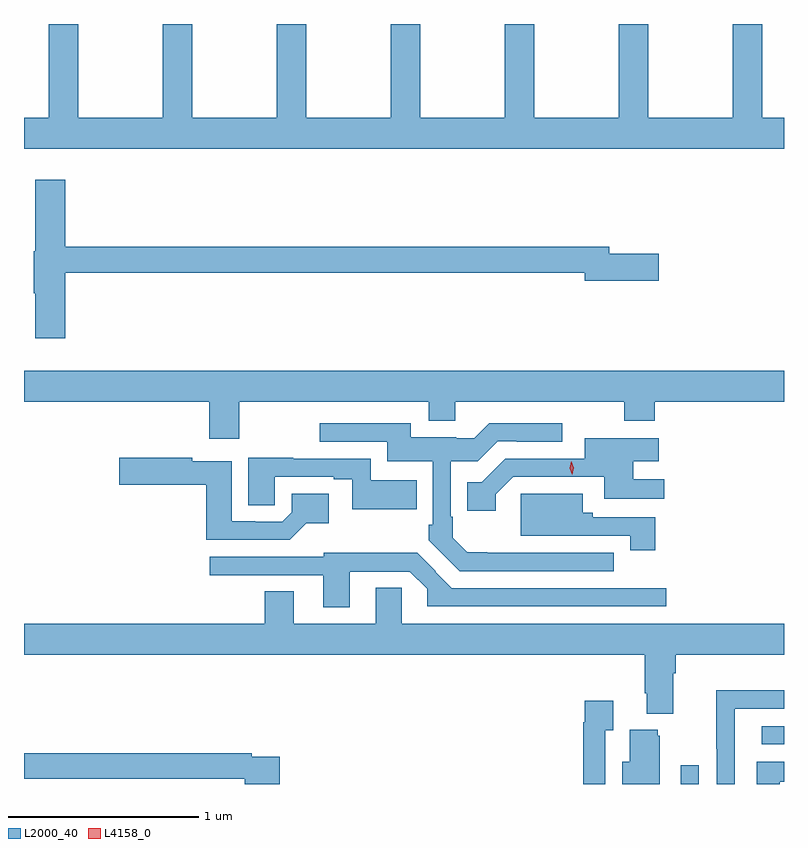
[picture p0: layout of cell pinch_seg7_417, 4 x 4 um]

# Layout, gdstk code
import gdstk
lib = gdstk.Library(unit=1e-6, precision=1e-09)
def R(c, l, rs):  # rectangles x0, y0, x1, y1
    for r in rs: c.add(gdstk.rectangle(r[:2], r[2:], *l))
def P(c, l, *ps):  # polygons
    for p in ps: c.add(gdstk.Polygon(p, *l))
L2000_40 = (2000, 40)
L4158_0 = (4158, 0)

pinch_seg7_417 = lib.new_cell('pinch_seg7_417')
R(pinch_seg7_417, L2000_40, [(363.873,1073.197,363.969,1073.296), (364.299,1073.406,364.417,1073.502)])
P(pinch_seg7_417, L2000_40, [(361.747,1077.197),(361.747,1076.704),(361.302,1076.704),(361.302,1077.197),(361.147,1077.197),(361.147,1076.704),(360.702,1076.704),(360.702,1077.197),(360.547,1077.197),(360.547,1076.704),(360.417,1076.704),(360.417,1076.54),(364.417,1076.54),(364.417,1076.704),(364.302,1076.704),(364.302,1077.197),(364.147,1077.197),(364.147,1076.704),(363.702,1076.704),(363.702,1077.197),(363.547,1077.197),(363.547,1076.704),(363.102,1076.704),(363.102,1077.197),(362.947,1077.197),(362.947,1076.704),(362.502,1076.704),(362.502,1077.197),(362.347,1077.197),(362.347,1076.704),(361.902,1076.704),(361.902,1077.197)],
  [(360.635,1075.888),(363.368,1075.888),(363.368,1075.846),(363.757,1075.846),(363.757,1075.988),(363.496,1075.988),(363.496,1076.024),(360.635,1076.024),(360.635,1076.377),(360.476,1076.377),(360.476,1076.001),(360.469,1076.001),(360.469,1075.78),(360.476,1075.78),(360.476,1075.542),(360.635,1075.542)],
  [(361.551,1075.208),(362.546,1075.208),(362.546,1075.109),(362.686,1075.109),(362.686,1075.208),(363.577,1075.208),(363.577,1075.109),(363.737,1075.109),(363.737,1075.208),(364.417,1075.208),(364.417,1075.372),(360.417,1075.372),(360.417,1075.208),(361.391,1075.208),(361.391,1075.014),(361.551,1075.014)],
  [(363.52,1074.414),(362.854,1074.414),(362.854,1074.417),(362.75,1074.417),(362.674,1074.492),(362.674,1074.604),(362.664,1074.604),(362.664,1074.897),(362.805,1074.897),(362.91,1075.002),(363.01,1075.002),(363.01,1074.999),(363.25,1074.999),(363.25,1075.096),(362.866,1075.096),(362.787,1075.017),(362.693,1075.017),(362.693,1075.021),(362.452,1075.021),(362.452,1075.095),(361.974,1075.095),(361.974,1074.999),(362.33,1074.999),(362.33,1074.896),(362.568,1074.896),(362.568,1074.562),(362.548,1074.562),(362.548,1074.481),(362.711,1074.318),(363.52,1074.318)],
  [(362.899,1074.721),(362.991,1074.813),(363.47,1074.813),(363.47,1074.698),(363.787,1074.698),(363.787,1074.802),(363.623,1074.802),(363.623,1074.896),(363.757,1074.896),(363.757,1075.018),(363.368,1075.018),(363.368,1074.909),(362.951,1074.909),(362.826,1074.784),(362.749,1074.784),(362.749,1074.636),(362.899,1074.636)],
  [(361.902,1074.569),(362.02,1074.569),(362.02,1074.724),(361.827,1074.724),(361.827,1074.627),(361.776,1074.576),(361.634,1074.576),(361.634,1074.579),(361.51,1074.579),(361.51,1074.895),(361.302,1074.895),(361.302,1074.915),(360.918,1074.915),(360.918,1074.773),(361.376,1074.773),(361.376,1074.483),(361.816,1074.483)],
  [(362.483,1074.796),(362.241,1074.796),(362.241,1074.909),(361.834,1074.909),(361.834,1074.914),(361.598,1074.914),(361.598,1074.664),(361.737,1074.664),(361.737,1074.813),(362.048,1074.813),(362.048,1074.801),(362.145,1074.801),(362.145,1074.644),(362.483,1074.644)],
  [(363.739,1074.6),(363.411,1074.6),(363.411,1074.625),(363.358,1074.625),(363.358,1074.724),(363.032,1074.724),(363.032,1074.503),(363.311,1074.503),(363.311,1074.504),(363.608,1074.504),(363.608,1074.426),(363.739,1074.426)],
  [(362.131,1074.315),(362.448,1074.315),(362.539,1074.225),(362.539,1074.132),(363.796,1074.132),(363.796,1074.228),(362.667,1074.228),(362.582,1074.313),(362.585,1074.316),(362.487,1074.414),(361.995,1074.414),(361.995,1074.393),(361.395,1074.393),(361.395,1074.297),(361.991,1074.297),(361.991,1074.126),(362.131,1074.126)],
  [(363.835,1073.78),(363.848,1073.78),(363.848,1073.876),(364.417,1073.876),(364.417,1074.04),(362.406,1074.04),(362.406,1074.23),(362.267,1074.23),(362.267,1074.04),(361.837,1074.04),(361.837,1074.212),(361.685,1074.212),(361.685,1074.04),(360.417,1074.04),(360.417,1073.876),(363.683,1073.876),(363.683,1073.674),(363.695,1073.674),(363.695,1073.567),(363.835,1073.567)],
  [(364.158,1073.592),(364.417,1073.592),(364.417,1073.69),(364.06,1073.69),(364.06,1073.383),(364.062,1073.383),(364.062,1073.197),(364.158,1073.197)],
  [(363.477,1073.479),(363.517,1073.479),(363.517,1073.635),(363.369,1073.635),(363.369,1073.522),(363.361,1073.522),(363.361,1073.197),(363.477,1073.197)],
  [(363.763,1073.451),(363.752,1073.451),(363.752,1073.482),(363.605,1073.482),(363.605,1073.314),(363.566,1073.314),(363.566,1073.197),(363.763,1073.197)],
  [(361.763,1073.34),(361.616,1073.34),(361.616,1073.36),(360.417,1073.36),(360.417,1073.224),(361.58,1073.224),(361.58,1073.197),(361.763,1073.197)],
  [(364.395,1073.21),(364.417,1073.21),(364.417,1073.314),(364.274,1073.314),(364.274,1073.197),(364.395,1073.197)])
P(pinch_seg7_417, L4158_0, [(363.302,1074.824),(363.29,1074.859),(363.297,1074.896),(363.297,1074.896),(363.298,1074.896),(363.31,1074.861),(363.303,1074.824),(363.303,1074.824)])

lib.write_gds('pinch_seg7_417.gds')
